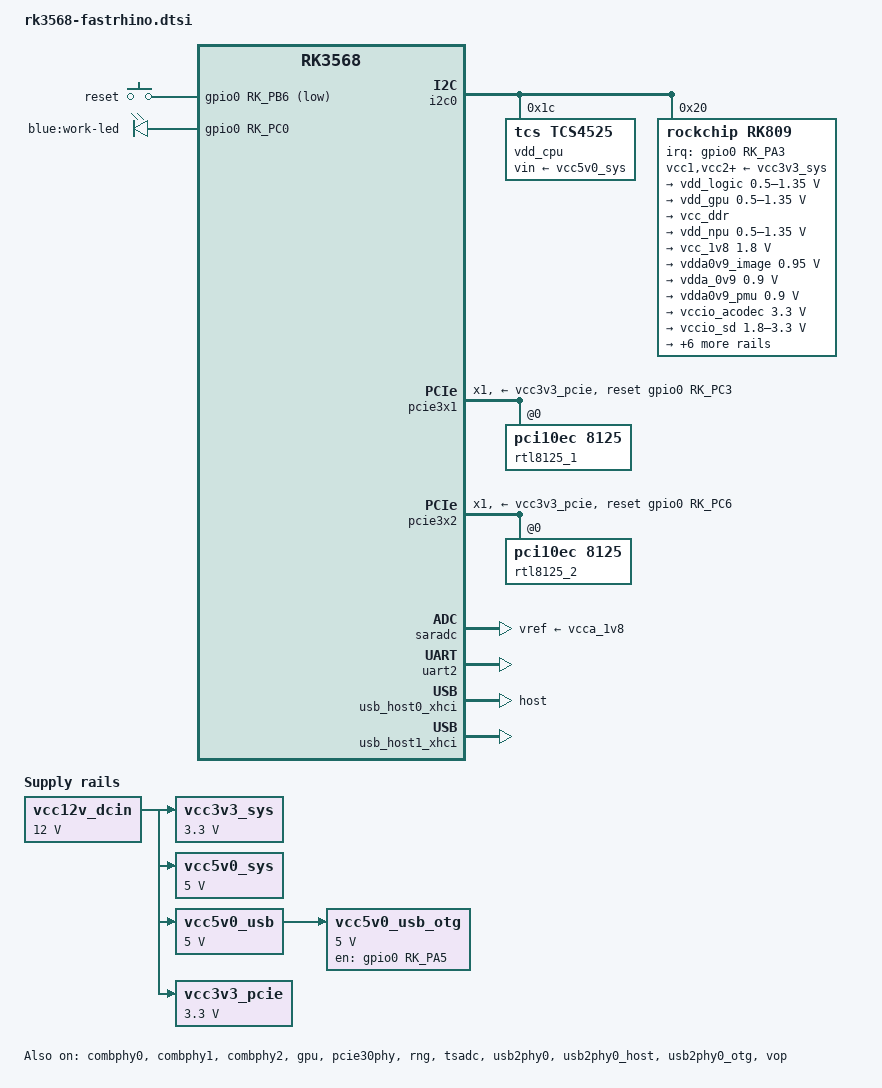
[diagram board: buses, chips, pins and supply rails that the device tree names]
// SPDX-License-Identifier: (GPL-2.0+ OR MIT)

#include <dt-bindings/gpio/gpio.h>
#include <dt-bindings/input/input.h>
#include <dt-bindings/pinctrl/rockchip.h>
#include "rk3568.dtsi"

/ {
	aliases {
		led-boot = &led_work;
		led-failsafe = &led_work;
		led-running = &led_work;
		led-upgrade = &led_work;
	};

	chosen {
		stdout-path = "serial2:1500000n8";
	};

	vcc12v_dcin: vcc12v-dcin {
		compatible = "regulator-fixed";
		regulator-always-on;
		regulator-boot-on;
		regulator-min-microvolt = <12000000>;
		regulator-max-microvolt = <12000000>;
		regulator-name = "vcc12v_dcin";
	};

	vcc3v3_sys: vcc3v3-sys {
		compatible = "regulator-fixed";
		regulator-always-on;
		regulator-boot-on;
		regulator-min-microvolt = <3300000>;
		regulator-max-microvolt = <3300000>;
		regulator-name = "vcc3v3_sys";
		vin-supply = <&vcc12v_dcin>;
	};

	vcc5v0_sys: vcc5v0-sys {
		compatible = "regulator-fixed";
		regulator-always-on;
		regulator-boot-on;
		regulator-min-microvolt = <5000000>;
		regulator-max-microvolt = <5000000>;
		regulator-name = "vcc5v0_sys";
		vin-supply = <&vcc12v_dcin>;
	};

	vcc5v0_usb: vcc5v0-usb {
		compatible = "regulator-fixed";
		regulator-always-on;
		regulator-boot-on;
		regulator-min-microvolt = <5000000>;
		regulator-max-microvolt = <5000000>;
		regulator-name = "vcc5v0_usb";
		vin-supply = <&vcc12v_dcin>;
	};

	vcc5v0_usb_otg: vcc5v0-usb-otg {
		compatible = "regulator-fixed";
		enable-active-high;
		gpio = <&gpio0 RK_PA5 GPIO_ACTIVE_HIGH>;
		pinctrl-names = "default";
		pinctrl-0 = <&vcc5v0_usb_otg_en>;
		regulator-min-microvolt = <5000000>;
		regulator-max-microvolt = <5000000>;
		regulator-name = "vcc5v0_usb_otg";
		vin-supply = <&vcc5v0_usb>;
	};

	vcc3v3_pcie: vcc3v3-pcie {
		compatible = "regulator-fixed";
		regulator-always-on;
		regulator-boot-on;
		regulator-min-microvolt = <3300000>;
		regulator-max-microvolt = <3300000>;
		regulator-name = "vcc3v3_pcie";
		vin-supply = <&vcc12v_dcin>;
	};

	gpio-keys {
		compatible = "gpio-keys";
		pinctrl-names = "default";
		pinctrl-0 = <&reset_button_pin>;

		reset {
			label = "reset";
			gpios = <&gpio0 RK_PB6 GPIO_ACTIVE_LOW>;
			linux,code = <KEY_RESTART>;
			debounce-interval = <50>;
		};
	};

	leds {
		compatible = "gpio-leds";
		pinctrl-names = "default";
		pinctrl-0 = <&led_work_en>;

		led_work: led-0 {
			label = "blue:work-led";
			gpios = <&gpio0 RK_PC0 GPIO_ACTIVE_HIGH>;
			linux,default-trigger = "heartbeat";
		};
	};
};

&combphy0 {
	status = "okay";
};

&combphy1 {
	status = "okay";
};

&combphy2 {
	status = "okay";
};

&cpu0 {
	cpu-supply = <&vdd_cpu>;
};

&cpu1 {
	cpu-supply = <&vdd_cpu>;
};

&cpu2 {
	cpu-supply = <&vdd_cpu>;
};

&cpu3 {
	cpu-supply = <&vdd_cpu>;
};

#ifdef DTS_NO_LEGACY
&display_subsystem {
	status = "disabled";
};

&gpu {
	mali-supply = <&vdd_gpu>;
	status = "okay";
};
#endif

&i2c0 {
	status = "okay";

	vdd_cpu: regulator@1c {
		compatible = "tcs,tcs4525";
		reg = <0x1c>;
		fcs,suspend-voltage-selector = <1>;
		regulator-always-on;
		regulator-boot-on;
		regulator-min-microvolt = <712500>;
		regulator-max-microvolt = <1390000>;
		regulator-name = "vdd_cpu";
		regulator-ramp-delay = <2300>;
		vin-supply = <&vcc5v0_sys>;

		regulator-state-mem {
			regulator-off-in-suspend;
		};
	};

	rk809: pmic@20 {
		compatible = "rockchip,rk809";
		reg = <0x20>;
		interrupt-parent = <&gpio0>;
		interrupts = <RK_PA3 IRQ_TYPE_LEVEL_LOW>;
		#clock-cells = <1>;
		pinctrl-names = "default";
		pinctrl-0 = <&pmic_int>;
		rockchip,system-power-controller;
		wakeup-source;

		vcc1-supply = <&vcc3v3_sys>;
		vcc2-supply = <&vcc3v3_sys>;
		vcc3-supply = <&vcc3v3_sys>;
		vcc4-supply = <&vcc3v3_sys>;
		vcc5-supply = <&vcc3v3_sys>;
		vcc6-supply = <&vcc3v3_sys>;
		vcc7-supply = <&vcc3v3_sys>;
		vcc8-supply = <&vcc3v3_sys>;
		vcc9-supply = <&vcc3v3_sys>;

		regulators {
			vdd_logic: DCDC_REG1 {
				regulator-always-on;
				regulator-boot-on;
				regulator-initial-mode = <0x2>;
				regulator-min-microvolt = <500000>;
				regulator-max-microvolt = <1350000>;
				regulator-name = "vdd_logic";
				regulator-ramp-delay = <6001>;

				regulator-state-mem {
					regulator-off-in-suspend;
				};
			};

			vdd_gpu: DCDC_REG2 {
				regulator-always-on;
				regulator-boot-on;
				regulator-initial-mode = <0x2>;
				regulator-min-microvolt = <500000>;
				regulator-max-microvolt = <1350000>;
				regulator-name = "vdd_gpu";
				regulator-ramp-delay = <6001>;

				regulator-state-mem {
					regulator-off-in-suspend;
				};
			};

			vcc_ddr: DCDC_REG3 {
				regulator-always-on;
				regulator-boot-on;
				regulator-initial-mode = <0x2>;
				regulator-name = "vcc_ddr";

				regulator-state-mem {
					regulator-on-in-suspend;
				};
			};

			vdd_npu: DCDC_REG4 {
				regulator-always-on;
				regulator-boot-on;
				regulator-initial-mode = <0x2>;
				regulator-min-microvolt = <500000>;
				regulator-max-microvolt = <1350000>;
				regulator-name = "vdd_npu";
				regulator-ramp-delay = <6001>;

				regulator-state-mem {
					regulator-off-in-suspend;
				};
			};

			vcc_1v8: DCDC_REG5 {
				regulator-always-on;
				regulator-boot-on;
				regulator-min-microvolt = <1800000>;
				regulator-max-microvolt = <1800000>;
				regulator-name = "vcc_1v8";

				regulator-state-mem {
					regulator-off-in-suspend;
				};
			};

			vdda0v9_image: LDO_REG1 {
				regulator-always-on;
				regulator-boot-on;
				regulator-min-microvolt = <950000>;
				regulator-max-microvolt = <950000>;
				regulator-name = "vdda0v9_image";

				regulator-state-mem {
					regulator-off-in-suspend;
				};
			};

			vdda_0v9: LDO_REG2 {
				regulator-always-on;
				regulator-boot-on;
				regulator-min-microvolt = <900000>;
				regulator-max-microvolt = <900000>;
				regulator-name = "vdda_0v9";

				regulator-state-mem {
					regulator-off-in-suspend;
				};
			};

			vdda0v9_pmu: LDO_REG3 {
				regulator-always-on;
				regulator-boot-on;
				regulator-min-microvolt = <900000>;
				regulator-max-microvolt = <900000>;
				regulator-name = "vdda0v9_pmu";

				regulator-state-mem {
					regulator-on-in-suspend;
					regulator-suspend-microvolt = <900000>;
				};
			};

			vccio_acodec: LDO_REG4 {
				regulator-always-on;
				regulator-boot-on;
				regulator-min-microvolt = <3300000>;
				regulator-max-microvolt = <3300000>;
				regulator-name = "vccio_acodec";

				regulator-state-mem {
					regulator-off-in-suspend;
				};
			};

			vccio_sd: LDO_REG5 {
				regulator-always-on;
				regulator-boot-on;
				regulator-min-microvolt = <1800000>;
				regulator-max-microvolt = <3300000>;
				regulator-name = "vccio_sd";

				regulator-state-mem {
					regulator-off-in-suspend;
				};
			};

			vcc3v3_pmu: LDO_REG6 {
				regulator-always-on;
				regulator-boot-on;
				regulator-min-microvolt = <3300000>;
				regulator-max-microvolt = <3300000>;
				regulator-name = "vcc3v3_pmu";

				regulator-state-mem {
					regulator-on-in-suspend;
					regulator-suspend-microvolt = <3300000>;
				};
			};

			vcca_1v8: LDO_REG7 {
				regulator-always-on;
				regulator-boot-on;
				regulator-min-microvolt = <1800000>;
				regulator-max-microvolt = <1800000>;
				regulator-name = "vcca_1v8";

				regulator-state-mem {
					regulator-off-in-suspend;
				};
			};

			vcca1v8_pmu: LDO_REG8 {
				regulator-always-on;
				regulator-boot-on;
				regulator-min-microvolt = <1800000>;
				regulator-max-microvolt = <1800000>;
				regulator-name = "vcca1v8_pmu";

				regulator-state-mem {
					regulator-on-in-suspend;
					regulator-suspend-microvolt = <1800000>;
				};
			};

			vcca1v8_image: LDO_REG9 {
				regulator-always-on;
				regulator-boot-on;
				regulator-min-microvolt = <950000>;
				regulator-max-microvolt = <1800000>;
				regulator-name = "vcca1v8_image";

				regulator-state-mem {
					regulator-on-in-suspend;
					regulator-suspend-microvolt = <950000>;
				};
			};

			vcc_3v3: SWITCH_REG1 {
				regulator-always-on;
				regulator-boot-on;
				regulator-name = "vcc_3v3";

				regulator-state-mem {
					regulator-off-in-suspend;
				};
			};

			vcc3v3_sd: SWITCH_REG2 {
				regulator-always-on;
				regulator-boot-on;
				regulator-name = "vcc3v3_sd";

				regulator-state-mem {
					regulator-off-in-suspend;
				};
			};
		};
	};
};

&pcie30phy {
	data-lanes = <1 2>;
	status = "okay";
};

&pcie3x1 {
	num-lanes = <1>;
	reset-gpios = <&gpio0 RK_PC3 GPIO_ACTIVE_HIGH>;
	vpcie3v3-supply = <&vcc3v3_pcie>;
	status = "okay";

	pcie@0,0 {
		reg = <0x00100000 0 0 0 0>;
		#address-cells = <3>;
		#size-cells = <2>;

		rtl8125_1: pcie-eth@10,0 {
			compatible = "pci10ec,8125";
			reg = <0x000000 0 0 0 0>;

			realtek,led-data = <0x238>;
		};
	};
};

&pcie3x2 {
	num-lanes = <1>;
	reset-gpios = <&gpio0 RK_PC6 GPIO_ACTIVE_HIGH>;
	vpcie3v3-supply = <&vcc3v3_pcie>;
	status = "okay";

	pcie@0,0 {
		reg = <0x00200000 0 0 0 0>;
		#address-cells = <3>;
		#size-cells = <2>;

		rtl8125_2: pcie-eth@20,0 {
			compatible = "pci10ec,8125";
			reg = <0x000000 0 0 0 0>;

			realtek,led-data = <0x238>;
		};
	};
};

&pinctrl {
	leds {
		led_work_en: led_work_en {
			rockchip,pins = <0 RK_PC0 RK_FUNC_GPIO &pcfg_pull_none>;
		};
	};

	pmic {
		pmic_int: pmic_int {
			rockchip,pins = <0 RK_PA3 RK_FUNC_GPIO &pcfg_pull_up>;
		};
	};

	rockchip-key {
		reset_button_pin: reset-button-pin {
			rockchip,pins = <0 RK_PB6 RK_FUNC_GPIO &pcfg_pull_up>;
		};
	};

	usb {
		vcc5v0_usb_otg_en: vcc5v0_usb_otg_en {
			rockchip,pins = <0 RK_PA5 RK_FUNC_GPIO &pcfg_pull_none>;
		};
	};
};

&pmu_io_domains {
	pmuio1-supply = <&vcc3v3_pmu>;
	pmuio2-supply = <&vcc3v3_pmu>;
	vccio1-supply = <&vccio_acodec>;
	vccio3-supply = <&vccio_sd>;
	vccio4-supply = <&vcc_1v8>;
	vccio5-supply = <&vcc_3v3>;
	vccio6-supply = <&vcc_1v8>;
	vccio7-supply = <&vcc_3v3>;
	status = "okay";
};

&rng {
	status = "okay";
};

&saradc {
	vref-supply = <&vcca_1v8>;
	status = "okay";
};

&tsadc {
	rockchip,hw-tshut-mode = <1>;
	rockchip,hw-tshut-polarity = <0>;
	status = "okay";
};

&uart2 {
	status = "okay";
};

&usb_host0_xhci {
	dr_mode = "host";
	status = "okay";
};

&usb_host1_xhci {
	status = "okay";
};

&usb2phy0 {
	status = "okay";
};

&usb2phy0_host {
	status = "okay";
};

&usb2phy0_otg {
	phy-supply = <&vcc5v0_usb_otg>;
	status = "okay";
};

#ifdef DTS_NO_LEGACY
&vop {
	assigned-clocks = <&cru DCLK_VOP0>, <&cru DCLK_VOP1>;
	assigned-clock-parents = <&pmucru PLL_HPLL>, <&cru PLL_VPLL>;
	status = "okay";
};

&vop_mmu {
	status = "okay";
};
#endif
